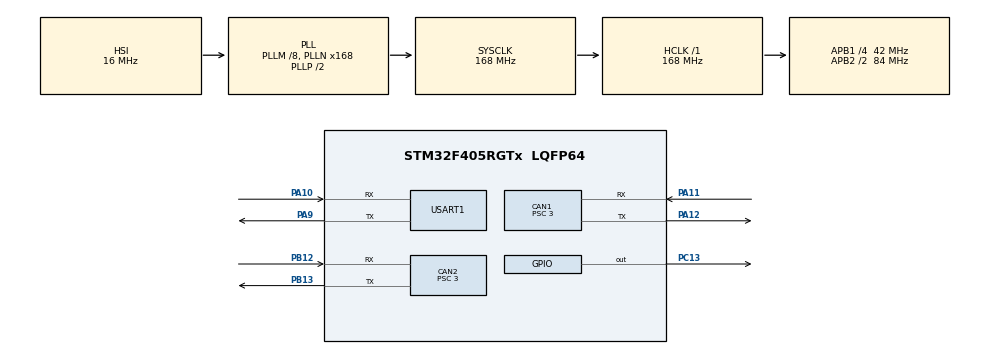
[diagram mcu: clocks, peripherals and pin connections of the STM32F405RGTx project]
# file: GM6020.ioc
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CAN1.BS1=CAN_BS1_9TQ
CAN1.BS2=CAN_BS2_4TQ
CAN1.CalculateBaudRate=1000000
CAN1.CalculateTimeBit=1000
CAN1.CalculateTimeQuantum=71.42857142857143
CAN1.Prescaler=3
CAN2.BS1=CAN_BS1_9TQ
CAN2.BS2=CAN_BS2_4TQ
CAN2.CalculateBaudRate=1000000
CAN2.CalculateTimeBit=1000
CAN2.CalculateTimeQuantum=71.42857142857143
CAN2.Prescaler=3
Dma.Request0=USART1_TX
Dma.Request1=USART1_RX
Dma.USART1_RX.1.Direction=DMA_PERIPH_TO_MEMORY
Dma.USART1_RX.1.FIFOMode=DMA_FIFOMODE_DISABLE
Dma.USART1_RX.1.Instance=DMA2_Stream2
Dma.USART1_RX.1.MemDataAlignment=DMA_MDATAALIGN_BYTE
Dma.USART1_RX.1.MemInc=DMA_MINC_ENABLE
Dma.USART1_RX.1.Mode=DMA_NORMAL
Dma.USART1_RX.1.PeriphDataAlignment=DMA_PDATAALIGN_BYTE
Dma.USART1_RX.1.PeriphInc=DMA_PINC_DISABLE
Dma.USART1_RX.1.Priority=DMA_PRIORITY_LOW
Dma.USART1_TX.0.Direction=DMA_MEMORY_TO_PERIPH
Dma.USART1_TX.0.FIFOMode=DMA_FIFOMODE_DISABLE
Dma.USART1_TX.0.Instance=DMA2_Stream7
Dma.USART1_TX.0.MemDataAlignment=DMA_MDATAALIGN_BYTE
Dma.USART1_TX.0.MemInc=DMA_MINC_ENABLE
Dma.USART1_TX.0.Mode=DMA_NORMAL
Dma.USART1_TX.0.PeriphDataAlignment=DMA_PDATAALIGN_BYTE
Dma.USART1_TX.0.PeriphInc=DMA_PINC_DISABLE
Dma.USART1_TX.0.Priority=DMA_PRIORITY_LOW
FREERTOS.Tasks01=motorTask,24,128,MotorTask,Default,NULL,Dynamic,NULL,NULL;usartTask,24,128,UsartTask,Default,NULL,Dynamic,NULL,NULL;can1receivetask,32,128,CAN1_Receive_Task,Default,NULL,Dynamic,NULL,NULL
Mcu.Family=STM32F4
Mcu.Name=STM32F405RGTx
Mcu.Package=LQFP64
NVIC.CAN1_RX0_IRQn=true\:5\:0\:false\:false\:true\:true\:true\:true\:true
NVIC.CAN1_RX1_IRQn=true\:5\:0\:false\:false\:true\:true\:true\:true\:true
NVIC.DMA2_Stream2_IRQn=true\:5\:0\:false\:false\:true\:true\:false\:true\:true
NVIC.DMA2_Stream7_IRQn=true\:5\:0\:false\:false\:true\:true\:false\:true\:true
NVIC.PriorityGroup=NVIC_PRIORITYGROUP_4
NVIC.TIM7_IRQn=true\:15\:0\:false\:false\:true\:false\:false\:true\:true
NVIC.TimeBase=TIM7_IRQn
NVIC.TimeBaseIP=TIM7
PA10.Mode=Asynchronous
PA10.Signal=USART1_RX
PA11.Mode=CAN_Activate
PA11.Signal=CAN1_RX
PA12.Mode=CAN_Activate
PA12.Signal=CAN1_TX
PA13.Mode=Serial_Wire
PA13.Signal=SYS_JTMS-SWDIO
PA14.Mode=Serial_Wire
PA14.Signal=SYS_JTCK-SWCLK
PA9.Mode=Asynchronous
PA9.Signal=USART1_TX
PB12.Mode=CAN_Activate
PB12.Signal=CAN2_RX
PB13.Mode=CAN_Activate
PB13.Signal=CAN2_TX
PC13-ANTI_TAMP.GPIO_PuPd=GPIO_PULLUP
PC13-ANTI_TAMP.PinState=GPIO_PIN_SET
PC13-ANTI_TAMP.Signal=GPIO_Output
PH0-OSC_IN.Mode=HSE-External-Oscillator
PH0-OSC_IN.Signal=RCC_OSC_IN
PH1-OSC_OUT.Mode=HSE-External-Oscillator
PH1-OSC_OUT.Signal=RCC_OSC_OUT
ProjectManager.HeapSize=0x200
ProjectManager.StackSize=0x400
ProjectManager.TargetToolchain=MDK-ARM V5.32
RCC.48MHZClocksFreq_Value=84000000
RCC.AHBFreq_Value=168000000
RCC.APB1CLKDivider=RCC_HCLK_DIV4
RCC.APB1Freq_Value=42000000
RCC.APB1TimFreq_Value=84000000
RCC.APB2CLKDivider=RCC_HCLK_DIV2
RCC.APB2Freq_Value=84000000
RCC.APB2TimFreq_Value=168000000
RCC.CortexFreq_Value=168000000
RCC.HCLKFreq_Value=168000000
RCC.HSE_VALUE=25000000
RCC.HSI_VALUE=16000000
RCC.LSE_VALUE=32768
RCC.PLLM=8
RCC.PLLN=168
RCC.SYSCLKFreq_VALUE=168000000
RCC.SYSCLKSource=RCC_SYSCLKSOURCE_PLLCLK
RCC.VCOOutputFreq_Value=336000000
USART1.VirtualMode=VM_ASYNC
VP_FREERTOS_VS_CMSIS_V2.Mode=CMSIS_V2
VP_SYS_VS_tim7.Mode=TIM7
board=custom

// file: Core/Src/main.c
/* USER CODE BEGIN Header */
/**
 ******************************************************************************
 * @file           : main.c
 * @brief          : Main program body
 ******************************************************************************
 * @attention
 *
 * Copyright (c) 2024 STMicroelectronics.
 * All rights reserved.
 *
 * This software is licensed under terms that can be found in the LICENSE file
 * in the root directory of this software component.
 * If no LICENSE file comes with this software, it is provided AS-IS.
 *
 ******************************************************************************
 */
/* USER CODE END Header */
#include "main.h"
#include "cmsis_os.h"
#include "can.h"
#include "dma.h"
#include "usart.h"
#include "gpio.h"

void SystemClock_Config(void);
void MX_FREERTOS_Init(void);

/* USER CODE BEGIN 0 */
/**
 * @brief CAN报文回调函数
 *
 * @param Rx_Buffer CAN接收的信息结构体
 */
void CAN_Motor_Call_Back(CAN_RxBuffer *Rx_Buffer)
{
	uint8_t *Rx_Data = Rx_Buffer->data;
	switch (Rx_Buffer->header.StdId)
	{
	case (0x205):
	{
		Tx_Data[0] = (Rx_Data[0] << 8) | Rx_Data[1];
		Tx_Data[1] = (Rx_Data[2] << 8) | Rx_Data[3];
		Tx_Data[2] = (Rx_Data[4] << 8) | Rx_Data[5];
		Tx_Data[3] = Rx_Data[6];
	}
	break;
	}
}
/* USER CODE END 0 */

int main(void)
{

  /* MCU Configuration--------------------------------------------------------*/

  /* Reset of all peripherals, Initializes the Flash interface and the Systick. */
  HAL_Init();

  /* Configure the system clock */
  SystemClock_Config();

  /* Initialize all configured peripherals */
  MX_GPIO_Init();
  MX_DMA_Init();
  MX_CAN1_Init();
  MX_CAN2_Init();
  MX_USART1_UART_Init();
  /* USER CODE BEGIN 2 */
	CAN_Init(&hcan1, CAN_Motor_Call_Back);
	Uart_Init(&huart1, NULL, 0, NULL);
	CAN_Filter_Mask_Config(&hcan1, CanFilter(13) | CanFifo_1 | Can_STDID | Can_DataType, 0x205, 0x7FF);
  /* USER CODE END 2 */

  /* Init scheduler */
  osKernelInitialize();  /* Call init function for freertos objects (in freertos.c) */
  MX_FREERTOS_Init();

  /* Start scheduler */
  osKernelStart();
  /* We should never get here as control is now taken by the scheduler */
  /* Infinite loop */
	while (1)
	{

	}
}

void SystemClock_Config(void)
{
  RCC_OscInitTypeDef RCC_OscInitStruct = {0};
  RCC_ClkInitTypeDef RCC_ClkInitStruct = {0};

  /** Configure the main internal regulator output voltage
  */
  __HAL_RCC_PWR_CLK_ENABLE();
  __HAL_PWR_VOLTAGESCALING_CONFIG(PWR_REGULATOR_VOLTAGE_SCALE1);

  /** Initializes the RCC Oscillators according to the specified parameters
  * in the RCC_OscInitTypeDef structure.
  */
  RCC_OscInitStruct.OscillatorType = RCC_OSCILLATORTYPE_HSI;
  RCC_OscInitStruct.HSIState = RCC_HSI_ON;
  RCC_OscInitStruct.HSICalibrationValue = RCC_HSICALIBRATION_DEFAULT;
  RCC_OscInitStruct.PLL.PLLState = RCC_PLL_ON;
  RCC_OscInitStruct.PLL.PLLSource = RCC_PLLSOURCE_HSI;
  RCC_OscInitStruct.PLL.PLLM = 8;
  RCC_OscInitStruct.PLL.PLLN = 168;
  RCC_OscInitStruct.PLL.PLLP = RCC_PLLP_DIV2;
  RCC_OscInitStruct.PLL.PLLQ = 4;
  if (HAL_RCC_OscConfig(&RCC_OscInitStruct) != HAL_OK)
  {
    Error_Handler();
  }

  /** Initializes the CPU, AHB and APB buses clocks
  */
  RCC_ClkInitStruct.ClockType = RCC_CLOCKTYPE_HCLK|RCC_CLOCKTYPE_SYSCLK
                              |RCC_CLOCKTYPE_PCLK1|RCC_CLOCKTYPE_PCLK2;
  RCC_ClkInitStruct.SYSCLKSource = RCC_SYSCLKSOURCE_PLLCLK;
  RCC_ClkInitStruct.AHBCLKDivider = RCC_SYSCLK_DIV1;
  RCC_ClkInitStruct.APB1CLKDivider = RCC_HCLK_DIV4;
  RCC_ClkInitStruct.APB2CLKDivider = RCC_HCLK_DIV2;

  if (HAL_RCC_ClockConfig(&RCC_ClkInitStruct, FLASH_LATENCY_5) != HAL_OK)
  {
    Error_Handler();
  }
}

void HAL_TIM_PeriodElapsedCallback(TIM_HandleTypeDef *htim)
{
  if (htim->Instance == TIM7) {
    HAL_IncTick();
  }
}

void Error_Handler(void)
{
	__disable_irq();
	while (1)
	{
	}
}

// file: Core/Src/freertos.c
/* USER CODE BEGIN Header */
/**
 ******************************************************************************
 * File Name          : freertos.c
 * Description        : Code for freertos applications
 ******************************************************************************
 * @attention
 *
 * Copyright (c) 2024 STMicroelectronics.
 * All rights reserved.
 *
 * This software is licensed under terms that can be found in the LICENSE file
 * in the root directory of this software component.
 * If no LICENSE file comes with this software, it is provided AS-IS.
 *
 ******************************************************************************
 */
/* USER CODE END Header */

#include "FreeRTOS.h"
#include "task.h"
#include "main.h"
#include "cmsis_os.h"

/* USER CODE BEGIN Includes */
#include "usart.h"
/* USER CODE END Includes */

/* USER CODE BEGIN Variables */
// float Target = 50.0f * PI;
const float Omega = 40.0f;
float Target = 600;
float Current;

/* USER CODE END Variables */
/* Definitions for motorTask */
osThreadId_t motorTaskHandle;
const osThreadAttr_t motorTask_attributes = {
	.name = "motorTask",
	.stack_size = 128 * 4,
	.priority = (osPriority_t)osPriorityNormal,
};
/* Definitions for usartTask */
osThreadId_t usartTaskHandle;
const osThreadAttr_t usartTask_attributes = {
	.name = "usartTask",
	.stack_size = 128 * 4,
	.priority = (osPriority_t)osPriorityNormal,
};
/* Definitions for can1receivetask */
osThreadId_t can1receivetaskHandle;
const osThreadAttr_t can1receivetask_attributes = {
	.name = "can1receivetask",
	.stack_size = 128 * 4,
	.priority = (osPriority_t)osPriorityAboveNormal,
};

void MotorTask(void *argument);
void UsartTask(void *argument);
void CAN1_Receive_Task(void *argument);

void MX_FREERTOS_Init(void); /* (MISRA C 2004 rule 8.1) */

void MX_FREERTOS_Init(void)
{

	/* Create the thread(s) */
	/* creation of motorTask */
	motorTaskHandle = osThreadNew(MotorTask, NULL, &motorTask_attributes);

	/* creation of usartTask */
	usartTaskHandle = osThreadNew(UsartTask, NULL, &usartTask_attributes);

	/* creation of can1receivetask */
	can1receivetaskHandle = osThreadNew(CAN1_Receive_Task, NULL, &can1receivetask_attributes);

}

void MotorTask(void *argument)
{
	/* USER CODE BEGIN MotorTask */
	int16_t Torque;
	PID_Controller PID_Speed = {75, 0, 0};
	PID_Speed.i_out = 0;
	/* Infinite loop */
	for (;;)
	{
		float now_omega = Tx_Data[1];
		// Current = now_omega * 2.0f * PI / 60.0f;
		Current = now_omega;
		Torque = PID_Calc(&PID_Speed, Current, Target);
		CAN1_0x1ff_Tx_Data[0] = Torque >> 8;
		CAN1_0x1ff_Tx_Data[1] = Torque;
		CANx_SendData(&hcan1, 0x1ff, CAN1_0x1ff_Tx_Data, 8);
		osDelay(5);
	}
	/* USER CODE END MotorTask */
}

void UsartTask(void *argument)
{
	/* USER CODE BEGIN UsartTask */
	/* Infinite loop */
	for (;;)
	{
		HAL_UART_Transmit(&huart1, (uint8_t *)&Target, sizeof(float), HAL_MAX_DELAY);
		HAL_UART_Transmit(&huart1, (uint8_t *)&Current, sizeof(float), HAL_MAX_DELAY);
		HAL_UART_Transmit(&huart1, tail, 4, 100);
		osDelay(500);
	}
	/* USER CODE END UsartTask */
}

void CAN1_Receive_Task(void *argument)
{
	for (;;)
	{
		osDelay(1);
	}
}
